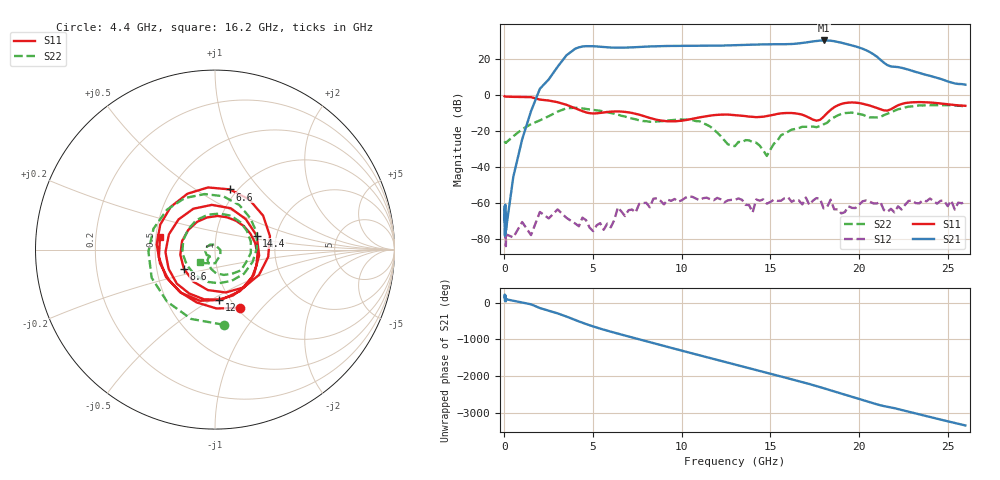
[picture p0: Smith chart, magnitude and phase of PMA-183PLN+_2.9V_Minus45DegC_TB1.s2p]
!Keysight Technologies,N5244A,MY52442000,A.10.40.14
!Date: Thursday, July 16, 2020 10:52:51
!Correction: S11(Full 2 Port(1,2))
!S21(Full 2 Port(1,2))
!S12(Full 2 Port(1,2))
!S22(Full 2 Port(1,2))
!S2P File: Measurements: S11, S21, S12, S22:
# Hz S  dB  R 50
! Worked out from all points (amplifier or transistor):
!   128 points, 10 MHz to 26 GHz, reference 50 ohm
!   highest |S21| = 30.3 dB at 18 GHz (marker M1)
!   |S21| within 3 dB of that: 10.37 GHz to 19.69 GHz (9.319 GHz wide, 62 % of centre)
!   unconditionally stable (mu >= 1): start of sweep to end of sweep
!   at 4.8 GHz: K = 81.15, MAG = 28.3 dB, |S12| = -73.7 dB
!   at 13.4 GHz: K = 15.65, MAG = 28.1 dB, |S12| = -58.3 dB
!   at 26 GHz: K = 130.77, MAG = 8.1 dB, |S12| = -58.8 dB
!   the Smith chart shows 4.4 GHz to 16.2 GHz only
!   S11 on the Smith chart (normalised r, x): 4.4 GHz: 1.04, -0.77; 6.6 GHz: 0.92, +0.70; 8.6 GHz: 0.69, -0.15; 12 GHz: 0.89, -0.54; 14.4 GHz: 1.58, +0.26; 16.2 GHz: 0.53, +0.08
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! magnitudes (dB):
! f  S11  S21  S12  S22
! 10 MHz  -0.8  -69.3  -71.4  -25.7
! 20 MHz  -0.9  -61.6  -62.8  -26.0
! 30 MHz  -0.9  -78.4  -66.9  -26.1
! 40 MHz  -0.9  -63.8  -78.9  -26.4
! 50 MHz  -0.9  -61.1  -70.7  -26.5
! 60 MHz  -0.9  -77.2  -65.2  -26.5
! 80 MHz  -0.9  -67.2  -84.1  -26.5
! 1.5 GHz  -1.2  -9.0  -78.0  -16.2
! 2 GHz  -2.6  3.4  -65.1  -14.1
! 4.4 GHz  -9.0  26.9  -68.2  -7.5
! 5.6 GHz  -9.7  26.7  -75.0  -9.2
! 6.6 GHz  -9.2  26.3  -64.9  -11.6
! 8.6 GHz  -13.8  27.1  -57.4  -14.7
! 8.8 GHz  -14.2  27.2  -58.8  -14.7
! 12 GHz  -11.1  27.4  -57.3  -21.0
! 13.2 GHz  -11.4  27.7  -57.6  -26.1
! 14.4 GHz  -12.2  28.1  -58.8  -28.2
! 16.2 GHz  -10.0  28.3  -59.4  -19.3
! 17.4 GHz  -13.7  29.8  -58.8  -17.6
! 18 GHz  -12.2  30.3  -63.1  -16.4
! 21.8 GHz  -7.9  15.9  -63.3  -9.6
! 26 GHz  -6.0  5.7  -58.8  -6.5
